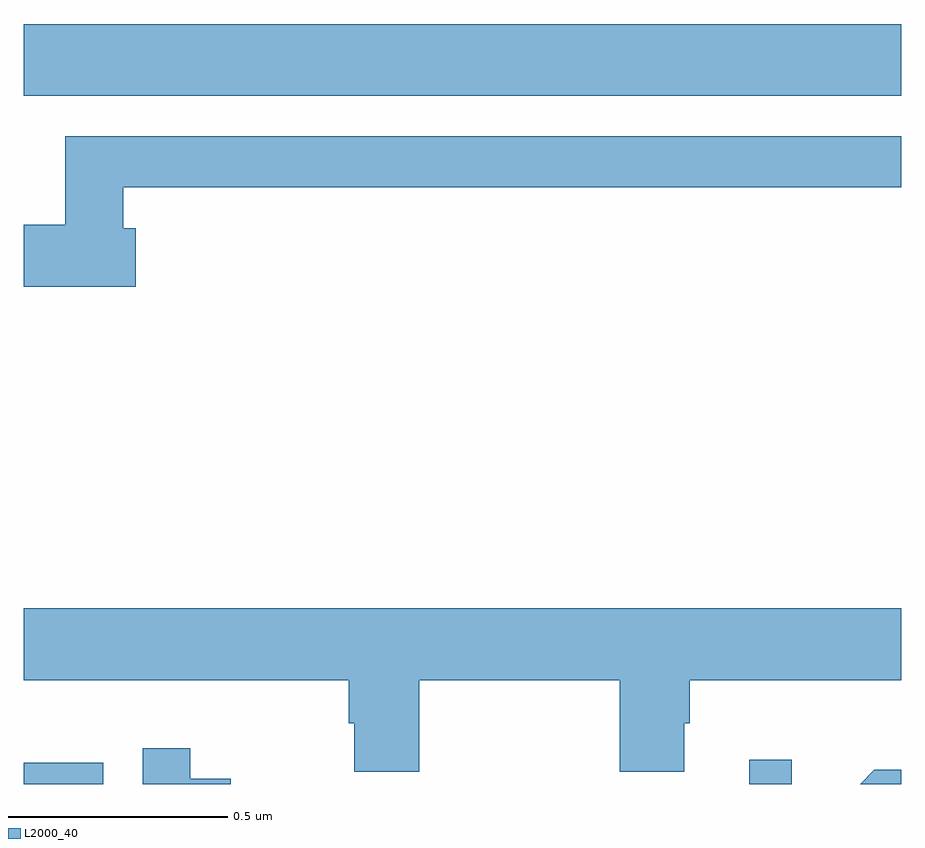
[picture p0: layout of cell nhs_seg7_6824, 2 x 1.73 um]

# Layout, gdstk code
import gdstk
lib = gdstk.Library(unit=1e-6, precision=1e-09)
def R(c, l, rs):  # rectangles x0, y0, x1, y1
    for r in rs: c.add(gdstk.rectangle(r[:2], r[2:], *l))
def P(c, l, *ps):  # polygons
    for p in ps: c.add(gdstk.Polygon(p, *l))
L2000_40 = (2000, 40)

nhs_seg7_6824 = lib.new_cell('nhs_seg7_6824')
R(nhs_seg7_6824, L2000_40, [(203,1047,203.181,1047.048), (204.653,1047,204.75,1047.055), (203,1048.568,205,1048.732)])
P(nhs_seg7_6824, L2000_40, [(203.255,1048.267),(203.227,1048.267),(203.227,1048.36),(205,1048.36),(205,1048.476),(203.095,1048.476),(203.095,1048.275),(203,1048.275),(203,1048.133),(203.255,1048.133)],
  [(203.901,1047.236),(204.358,1047.236),(204.358,1047.028),(204.505,1047.028),(204.505,1047.138),(204.518,1047.138),(204.518,1047.236),(205,1047.236),(205,1047.4),(203,1047.4),(203,1047.236),(203.741,1047.236),(203.741,1047.138),(203.753,1047.138),(203.753,1047.028),(203.901,1047.028)],
  [(203.472,1047.012),(203.38,1047.012),(203.38,1047.082),(203.271,1047.082),(203.271,1047),(203.472,1047)],
  [(205,1047.032),(204.938,1047.032),(204.906,1047),(205,1047)])

lib.write_gds('nhs_seg7_6824.gds')
